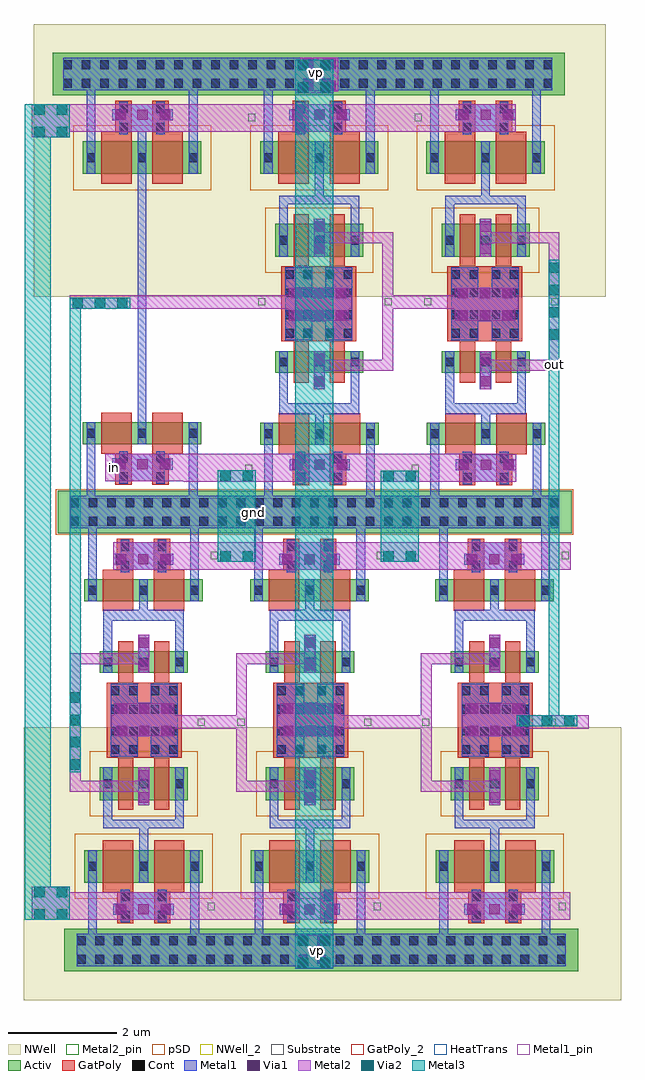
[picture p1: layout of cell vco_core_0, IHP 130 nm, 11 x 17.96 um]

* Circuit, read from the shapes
.subckt vco_core_0 gnd in out vp
XM1 vco_delay_cell_0_34/pgt in gnd gnd sg13_lv_nmos w=0.4u l=0.56u m=2
XM2 n1 in gnd gnd sg13_lv_nmos w=0.4u l=0.56u m=2
XM3 vco_delay_cell_0_37/in vco_delay_cell_0_35/in n1 gnd sg13_lv_nmos w=0.4u l=0.28u m=2
XM4 n2 in gnd gnd sg13_lv_nmos w=0.4u l=0.56u m=2
XM5 n3 in gnd gnd sg13_lv_nmos w=0.4u l=0.56u m=2
XM6 vco_delay_cell_0_35/in vco_delay_cell_0_34/in n2 gnd sg13_lv_nmos w=0.4u l=0.28u m=2
XM7 vco_delay_cell_0_38/in vco_delay_cell_0_37/in n3 gnd sg13_lv_nmos w=0.4u l=0.28u m=2
XM8 n4 in gnd gnd sg13_lv_nmos w=0.4u l=0.56u m=2
XM9 n5 in gnd gnd sg13_lv_nmos w=0.4u l=0.56u m=2
XM10 out vco_delay_cell_0_38/in n4 gnd sg13_lv_nmos w=0.4u l=0.28u m=2
XM11 vco_delay_cell_0_34/in out n5 gnd sg13_lv_nmos w=0.4u l=0.28u m=2
XM12 vco_delay_cell_0_34/pgt vco_delay_cell_0_34/pgt vp vp sg13_lv_pmos w=0.6u l=0.56u m=2
XM13 n6 vco_delay_cell_0_34/pgt vp vp sg13_lv_pmos w=0.6u l=0.56u m=2
XM14 vco_delay_cell_0_37/in vco_delay_cell_0_35/in n6 vp sg13_lv_pmos w=0.6u l=0.28u m=2
XM15 n7 vco_delay_cell_0_34/pgt vp vp sg13_lv_pmos w=0.6u l=0.56u m=2
XM16 n8 vco_delay_cell_0_34/pgt vp vp sg13_lv_pmos w=0.6u l=0.56u m=2
XM17 vco_delay_cell_0_35/in vco_delay_cell_0_34/in n7 vp sg13_lv_pmos w=0.6u l=0.28u m=2
XM18 vco_delay_cell_0_38/in vco_delay_cell_0_37/in n8 vp sg13_lv_pmos w=0.6u l=0.28u m=2
XM19 n9 vco_delay_cell_0_34/pgt vp vp sg13_lv_pmos w=0.6u l=0.56u m=2
XM20 n10 vco_delay_cell_0_34/pgt vp vp sg13_lv_pmos w=0.6u l=0.56u m=2
XM21 out vco_delay_cell_0_38/in n9 vp sg13_lv_pmos w=0.6u l=0.28u m=2
XM22 vco_delay_cell_0_34/in out n10 vp sg13_lv_pmos w=0.6u l=0.28u m=2
.ends

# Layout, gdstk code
from math import pi, radians
import gdstk
lib = gdstk.Library(unit=1e-6, precision=1e-09)
def R(c, l, rs):  # rectangles x0, y0, x1, y1
    for r in rs: c.add(gdstk.rectangle(r[:2], r[2:], *l))
def A(c, l, x, y, w, h, nx, ny, dx, dy):  # array of equal rectangles
    R(c, l, [(x+i*dx, y+j*dy, x+i*dx+w, y+j*dy+h) for i in range(nx) for j in range(ny)])
Activ = (1, 0)
GatPoly = (5, 0)
GatPoly_2 = (5, 2)
Cont = (6, 0)
Metal1 = (8, 0)
Metal1_pin = (8, 2)
Metal2 = (10, 0)
Metal2_pin = (10, 2)
pSD = (14, 0)
Via1 = (19, 0)
Via2 = (29, 0)
Metal3 = (30, 0)
NWell = (31, 0)
NWell_2 = (31, 2)
Substrate = (40, 0)
HeatTrans = (51, 0)

ntap1_15 = lib.new_cell('ntap1$15')
R(ntap1_15, Activ, [(0,0,1.56,0.78)])
A(ntap1_15, Cont, 0.19, 0.14, 0.16, 0.16, 4, 2, 0.34, 0.34)
R(ntap1_15, Metal1, [(0.19,0.09,1.37,0.69)])
R(ntap1_15, Metal1_pin, [(0.19,0.09,1.37,0.69), (0.19,0.14,1.37,0.64)])
R(ntap1_15, NWell, [(-0.24,-0.24,1.8,1.02), (0,0,1.56,0.78)])
R(ntap1_15, NWell_2, [(0,0,1.56,0.78)])
ntap1_15.add(gdstk.Label('well', (0.78,0.01), layer=63, texttype=0))
ntap1_15.add(gdstk.Label('well', (0.78,0.01), layer=31, texttype=0))

ptap1_17 = lib.new_cell('ptap1$17')
R(ptap1_17, Activ, [(0,0,1.56,0.78)])
A(ptap1_17, Cont, 0.19, 0.14, 0.16, 0.16, 4, 2, 0.34, 0.34)
R(ptap1_17, Metal1, [(0.19,0.09,1.37,0.69), (0.19,0.14,1.37,0.64)])
R(ptap1_17, Metal1_pin, [(0.19,0.14,1.37,0.64)])
R(ptap1_17, pSD, [(-0.03,-0.03,1.59,0.81)])
R(ptap1_17, Substrate, [(0,0,1.56,0.78)])
ptap1_17.add(gdstk.Label('sub!', (0.78,0.01), layer=63, texttype=0))
ptap1_17.add(gdstk.Label('sub!', (0.78,0.01), layer=40, texttype=0))

pmos_8 = lib.new_cell('pmos$8')
A(pmos_8, Activ, 0, 0, 0.3, 0.3, 3, 1, 0.94, 0)
R(pmos_8, Activ, [(0,0,2.18,0.6)])
R(pmos_8, GatPoly, [(0.34,-0.18,0.9,0.78), (0.34,-0.18,0.9,0.78), (1.28,-0.18,1.84,0.78)])
A(pmos_8, Cont, 0.07, 0.22, 0.16, 0.16, 3, 1, 0.94, 0)
R(pmos_8, Metal1, [(0.07,0,0.23,0.6), (0.07,0,0.23,0.6), (1.01,0,1.17,0.6), (1.01,0,1.17,0.6), (1.95,0,2.11,0.6)])
R(pmos_8, pSD, [(-0.18,-0.3,2.36,0.9)])
R(pmos_8, NWell, [(-0.31,-0.31,2.49,0.91)])
R(pmos_8, HeatTrans, [(0.34,-0.18,0.9,0.78), (1.28,-0.18,1.84,0.78)])
pmos_8.add(gdstk.Label('pmos', (0.62,0.3), layer=63, texttype=0))
pmos_8.add(gdstk.Label('pmos', (0.62,0.3), layer=51, texttype=0))
pmos_8.add(gdstk.Label('pmos', (1.56,0.3), layer=51, texttype=0))

nmos_20 = lib.new_cell('nmos$20')
A(nmos_20, Activ, 0, 0, 0.3, 0.3, 3, 1, 0.94, 0)
R(nmos_20, Activ, [(0,0,2.18,0.4)])
R(nmos_20, GatPoly, [(0.34,-0.18,0.9,0.58), (1.28,-0.18,1.84,0.58)])
R(nmos_20, GatPoly_2, [(0.34,-0.18,0.9,0.58)])
A(nmos_20, Cont, 0.07, 0.12, 0.16, 0.16, 3, 1, 0.94, 0)
A(nmos_20, Metal1, 0.07, 0, 0.16, 0.4, 3, 1, 0.94, 0)
R(nmos_20, Metal1_pin, [(0.07,0,0.23,0.4), (1.01,0,1.17,0.4)])
R(nmos_20, HeatTrans, [(0.34,-0.18,0.9,0.58), (1.28,-0.18,1.84,0.58)])
nmos_20.add(gdstk.Label('nmos', (0.62,0.2), layer=63, texttype=0))
nmos_20.add(gdstk.Label('nmos', (0.62,0.2), layer=51, texttype=0))
nmos_20.add(gdstk.Label('nmos', (1.56,0.2), layer=51, texttype=0))

via_75 = lib.new_cell('Via$75')
R(via_75, Metal1, [(-0.105,-0.555,0.105,0.555)])
R(via_75, Metal2, [(-0.1,-0.555,0.1,0.555)])
A(via_75, Via1, -0.095, -0.505, 0.19, 0.19, 1, 3, 0, 0.41)

via_8_10 = lib.new_cell('Via$8$10')
R(via_8_10, GatPoly, [(-0.15,-0.32,0.15,0.32)])
R(via_8_10, Cont, [(-0.08,-0.25,0.08,-0.09), (-0.08,0.09,0.08,0.25)])
R(via_8_10, Metal1, [(-0.08,-0.3,0.08,0.3)])

via_5_6 = lib.new_cell('Via$5$6')
R(via_5_6, Metal2, [(-0.76,-0.1,0.76,0.1)])
A(via_5_6, Via2, -0.71, -0.095, 0.19, 0.19, 4, 1, 0.41, 0)
R(via_5_6, Metal3, [(-0.76,-0.1,0.76,0.1)])

via_4_7 = lib.new_cell('Via$4$7')
R(via_4_7, Metal2, [(-0.555,-0.1,0.555,0.1)])
A(via_4_7, Via2, -0.505, -0.095, 0.19, 0.19, 3, 1, 0.41, 0)
R(via_4_7, Metal3, [(-0.555,-0.1,0.555,0.1)])

via_7_3 = lib.new_cell('Via$7$3')
R(via_7_3, Metal2, [(-0.35,-0.305,0.35,0.305)])
R(via_7_3, Via2, [(-0.3,-0.3,-0.11,-0.11), (0.11,-0.3,0.3,-0.11), (-0.3,0.11,-0.11,0.3), (0.11,0.11,0.3,0.3)])
R(via_7_3, Metal3, [(-0.35,-0.305,0.35,0.305)])

via_9_5 = lib.new_cell('Via$9$5')
R(via_9_5, Metal2, [(-0.35,-0.1,0.35,0.1)])
R(via_9_5, Via2, [(-0.3,-0.095,-0.11,0.095), (0.11,-0.095,0.3,0.095)])
R(via_9_5, Metal3, [(-0.35,-0.1,0.35,0.1)])

via_11_2 = lib.new_cell('Via$11$2')
R(via_11_2, Metal1, [(-0.35,-0.31,0.35,0.31)])
R(via_11_2, Metal2, [(-0.35,-0.305,0.35,0.305)])
R(via_11_2, Via1, [(-0.3,-0.3,-0.11,-0.11), (0.11,-0.3,0.3,-0.11), (-0.3,0.11,-0.11,0.3), (0.11,0.11,0.3,0.3)])

pmos_4_1 = lib.new_cell('pmos$4$1')
A(pmos_4_1, Activ, 0, 0, 0.3, 0.3, 3, 1, 0.66, 0)
R(pmos_4_1, Activ, [(0,0,1.62,0.6)])
R(pmos_4_1, GatPoly, [(0.34,-0.18,0.62,0.78), (0.34,-0.18,0.62,0.78), (1,-0.18,1.28,0.78)])
A(pmos_4_1, Cont, 0.07, 0.22, 0.16, 0.16, 3, 1, 0.66, 0)
R(pmos_4_1, Metal1, [(0.07,0,0.23,0.6), (0.07,0,0.23,0.6), (0.73,0,0.89,0.6), (0.73,0,0.89,0.6), (1.39,0,1.55,0.6)])
R(pmos_4_1, pSD, [(-0.18,-0.3,1.8,0.9)])
R(pmos_4_1, NWell, [(-0.31,-0.31,1.93,0.91)])
R(pmos_4_1, HeatTrans, [(0.34,-0.18,0.62,0.78), (1,-0.18,1.28,0.78)])
pmos_4_1.add(gdstk.Label('pmos', (0.48,0.3), layer=63, texttype=0))
pmos_4_1.add(gdstk.Label('pmos', (0.48,0.3), layer=51, texttype=0))
pmos_4_1.add(gdstk.Label('pmos', (1.14,0.3), layer=51, texttype=0))

pmos_3_6 = lib.new_cell('pmos$3$6')
A(pmos_3_6, Activ, 0, 0, 0.3, 0.3, 3, 1, 0.94, 0)
R(pmos_3_6, Activ, [(0,0,2.18,0.6)])
R(pmos_3_6, GatPoly, [(0.34,-0.18,0.9,0.78), (0.34,-0.18,0.9,0.78), (1.28,-0.18,1.84,0.78)])
A(pmos_3_6, Cont, 0.07, 0.22, 0.16, 0.16, 3, 1, 0.94, 0)
R(pmos_3_6, Metal1, [(0.07,0,0.23,0.6), (0.07,0,0.23,0.6), (1.01,0,1.17,0.6), (1.01,0,1.17,0.6), (1.95,0,2.11,0.6)])
R(pmos_3_6, pSD, [(-0.18,-0.3,2.36,0.9)])
R(pmos_3_6, NWell, [(-0.31,-0.31,2.49,0.91)])
R(pmos_3_6, HeatTrans, [(0.34,-0.18,0.9,0.78), (1.28,-0.18,1.84,0.78)])
pmos_3_6.add(gdstk.Label('pmos', (0.62,0.3), layer=63, texttype=0))
pmos_3_6.add(gdstk.Label('pmos', (0.62,0.3), layer=51, texttype=0))
pmos_3_6.add(gdstk.Label('pmos', (1.56,0.3), layer=51, texttype=0))

nmos_5_2 = lib.new_cell('nmos$5$2')
A(nmos_5_2, Activ, 0, 0, 0.3, 0.3, 3, 1, 0.66, 0)
R(nmos_5_2, Activ, [(0,0,1.62,0.4)])
R(nmos_5_2, GatPoly, [(0.34,-0.18,0.62,0.58), (1,-0.18,1.28,0.58)])
R(nmos_5_2, GatPoly_2, [(0.34,-0.18,0.62,0.58)])
A(nmos_5_2, Cont, 0.07, 0.12, 0.16, 0.16, 3, 1, 0.66, 0)
A(nmos_5_2, Metal1, 0.07, 0, 0.16, 0.4, 3, 1, 0.66, 0)
R(nmos_5_2, Metal1_pin, [(0.07,0,0.23,0.4), (0.73,0,0.89,0.4)])
R(nmos_5_2, HeatTrans, [(0.34,-0.18,0.62,0.58), (1,-0.18,1.28,0.58)])
nmos_5_2.add(gdstk.Label('nmos', (0.48,0.2), layer=63, texttype=0))
nmos_5_2.add(gdstk.Label('nmos', (0.48,0.2), layer=51, texttype=0))
nmos_5_2.add(gdstk.Label('nmos', (1.14,0.2), layer=51, texttype=0))

nmos_2_1 = lib.new_cell('nmos$2$1')
A(nmos_2_1, Activ, 0, 0, 0.3, 0.3, 3, 1, 0.94, 0)
R(nmos_2_1, Activ, [(0,0,2.18,0.4)])
R(nmos_2_1, GatPoly, [(0.34,-0.18,0.9,0.58), (1.28,-0.18,1.84,0.58)])
R(nmos_2_1, GatPoly_2, [(0.34,-0.18,0.9,0.58)])
A(nmos_2_1, Cont, 0.07, 0.12, 0.16, 0.16, 3, 1, 0.94, 0)
A(nmos_2_1, Metal1, 0.07, 0, 0.16, 0.4, 3, 1, 0.94, 0)
R(nmos_2_1, Metal1_pin, [(0.07,0,0.23,0.4), (1.01,0,1.17,0.4)])
R(nmos_2_1, HeatTrans, [(0.34,-0.18,0.9,0.58), (1.28,-0.18,1.84,0.58)])
nmos_2_1.add(gdstk.Label('nmos', (0.62,0.2), layer=63, texttype=0))
nmos_2_1.add(gdstk.Label('nmos', (0.62,0.2), layer=51, texttype=0))
nmos_2_1.add(gdstk.Label('nmos', (1.56,0.2), layer=51, texttype=0))

ntap1_1_1 = lib.new_cell('ntap1$1$1')
R(ntap1_1_1, Activ, [(0,0,3,0.78)])
A(ntap1_1_1, Cont, 0.23, 0.14, 0.16, 0.16, 8, 2, 0.34, 0.34)
R(ntap1_1_1, Metal1, [(0.23,0.09,2.77,0.69)])
R(ntap1_1_1, Metal1_pin, [(0.23,0.09,2.77,0.69), (0.23,0.14,2.77,0.64)])
R(ntap1_1_1, NWell, [(-0.24,-0.24,3.24,1.02), (0,0,3,0.78)])
R(ntap1_1_1, NWell_2, [(0,0,3,0.78)])
ntap1_1_1.add(gdstk.Label('well', (1.5,0.01), layer=63, texttype=0))
ntap1_1_1.add(gdstk.Label('well', (1.5,0.01), layer=31, texttype=0))

ptap1_3_6 = lib.new_cell('ptap1$3$6')
R(ptap1_3_6, Activ, [(0,0,3,0.78)])
A(ptap1_3_6, Cont, 0.23, 0.14, 0.16, 0.16, 8, 2, 0.34, 0.34)
R(ptap1_3_6, Metal1, [(0.23,0.09,2.77,0.69), (0.23,0.14,2.77,0.64)])
R(ptap1_3_6, Metal1_pin, [(0.23,0.14,2.77,0.64)])
R(ptap1_3_6, pSD, [(-0.03,-0.03,3.03,0.81)])
R(ptap1_3_6, Substrate, [(0,0,3,0.78)])
ptap1_3_6.add(gdstk.Label('sub!', (1.5,0.01), layer=63, texttype=0))
ptap1_3_6.add(gdstk.Label('sub!', (1.5,0.01), layer=40, texttype=0))

via_10_5 = lib.new_cell('Via$10$5')
R(via_10_5, GatPoly, [(-0.32,-0.32,0.32,0.32)])
R(via_10_5, Cont, [(-0.25,-0.25,-0.09,-0.09), (0.09,-0.25,0.25,-0.09), (-0.25,0.09,-0.09,0.25), (0.09,0.09,0.25,0.25)])
R(via_10_5, Metal1, [(-0.3,-0.25,0.3,0.25)])

via_1_2 = lib.new_cell('Via$1$2')
R(via_1_2, Metal1, [(-0.31,-0.555,0.31,0.555)])
R(via_1_2, Metal2, [(-0.305,-0.555,0.305,0.555)])
A(via_1_2, Via1, -0.3, -0.505, 0.19, 0.19, 1, 3, 0, 0.41)
A(via_1_2, Via1, 0.11, -0.505, 0.19, 0.19, 1, 3, 0, 0.41)

via_3_3 = lib.new_cell('Via$3$3')
R(via_3_3, Metal1, [(-0.105,-0.35,0.105,0.35)])
R(via_3_3, Metal2, [(-0.1,-0.35,0.1,0.35)])
R(via_3_3, Via1, [(-0.095,-0.3,0.095,-0.11), (-0.095,0.11,0.095,0.3)])

via_2_10 = lib.new_cell('Via$2$10')
R(via_2_10, GatPoly, [(-0.15,-0.32,0.15,0.32)])
R(via_2_10, Cont, [(-0.08,-0.25,0.08,-0.09), (-0.08,0.09,0.08,0.25)])
R(via_2_10, Metal1, [(-0.08,-0.3,0.08,0.3)])

via_5_2 = lib.new_cell('Via$5$2')
R(via_5_2, Metal1, [(-0.105,-0.555,0.105,0.555)])
R(via_5_2, Metal2, [(-0.1,-0.555,0.1,0.555)])
A(via_5_2, Via1, -0.095, -0.505, 0.19, 0.19, 1, 3, 0, 0.41)

vco_delay_cell_0 = lib.new_cell('vco_delay_cell_0')
R(vco_delay_cell_0, GatPoly, [(0.71,-0.53,0.82,0.11), (0.07,0.09,1.45,0.21), (0.71,0.21,0.82,0.85)])
R(vco_delay_cell_0, Metal1, [(1.635,-3.47,1.795,-2.42), (-0.245,-3.45,-0.085,-2.42), (0.475,-3.11,1.15,-2.61), (0.695,-2.03,0.855,-1.75), (0.03,-1.87,1.51,-1.67), (1.35,-1.735,1.51,-1.09), (0.03,-1.73,0.19,-0.99), (0.88,-0.35,1.38,0.13), (0.14,-0.34,0.64,0.13), (0.14,-0.04,0.39,0.23), (1.17,0.09,1.38,0.23), (0.03,1.63,0.19,2.04), (1.35,1.63,1.51,2.05), (0.03,1.99,1.51,2.15), (0.69,2.05,0.85,2.5), (0.69,2.38,0.85,2.55), (-0.25,3.15,-0.09,4.39), (1.63,3.15,1.79,4.265), (0.46,3.33,1.095,3.83)])
R(vco_delay_cell_0, Metal1_pin, [(0.79,-3.725,0.92,-3.595), (0.295,4.285,0.425,4.415)])
R(vco_delay_cell_0, Metal2, [(-0.625,-3.11,-0.035,-2.61), (-0.035,-3.11,1.335,-2.61), (0.83,-1.07,2.13,-0.87), (1.93,-1.07,2.13,0.57), (1.93,-0.16,2.13,1.48), (-0.96,0.07,1.37,0.32), (0.83,1.28,2.13,1.48), (-0.62,3.33,-0.03,3.83), (-0.04,3.33,1.33,3.83)])
R(vco_delay_cell_0, Metal2_pin, [(-0.59,-2.935,-0.46,-2.805), (1.975,0.13,2.105,0.26), (-0.355,0.135,-0.225,0.265), (-0.535,3.525,-0.405,3.655)])
R(vco_delay_cell_0, NWell, [(-1.56,0.29,2.98,5.31)])
vco_delay_cell_0.add(gdstk.Reference(pmos_4_1, (-0.04,1.03)))
vco_delay_cell_0.add(gdstk.Reference(pmos_3_6, (-0.32,2.55)))
vco_delay_cell_0.add(gdstk.Reference(nmos_5_2, (-0.04,-1.11)))
vco_delay_cell_0.add(gdstk.Reference(nmos_2_1, (-0.315,-2.43)))
vco_delay_cell_0.add(gdstk.Reference(ntap1_1_1, (-0.77,4)))
vco_delay_cell_0.add(gdstk.Reference(ptap1_3_6, (-0.645,-4.06)))
vco_delay_cell_0.add(gdstk.Reference(via_10_5, (0.39,0.53), rotation=pi/2))
vco_delay_cell_0.add(gdstk.Reference(via_10_5, (1.13,0.53), rotation=pi/2))
vco_delay_cell_0.add(gdstk.Reference(via_10_5, (0.39,-0.21), rotation=pi/2))
vco_delay_cell_0.add(gdstk.Reference(via_10_5, (1.13,-0.21), rotation=pi/2))
vco_delay_cell_0.add(gdstk.Reference(via_1_2, (0.76,0.15), rotation=pi/2))
vco_delay_cell_0.add(gdstk.Reference(via_3_3, (0.77,1.38)))
vco_delay_cell_0.add(gdstk.Reference(via_3_3, (0.77,-1.06)))
vco_delay_cell_0.add(gdstk.Reference(via_2_10, (1.115,-2.86)))
vco_delay_cell_0.add(gdstk.Reference(via_5_2, (0.78,-2.8), rotation=pi/2))
vco_delay_cell_0.add(gdstk.Reference(via_5_2, (0.775,3.64), rotation=pi/2))
vco_delay_cell_0.add(gdstk.Reference(via_2_10, (1.11,3.58)))
vco_delay_cell_0.add(gdstk.Reference(via_2_10, (0.43,3.58)))
vco_delay_cell_0.add(gdstk.Reference(via_2_10, (0.435,-2.86)))
vco_delay_cell_0.add(gdstk.Label('ngt', (-0.525,-2.87), layer=10, texttype=25))
vco_delay_cell_0.add(gdstk.Label('pgt', (-0.47,3.59), layer=10, texttype=25))
vco_delay_cell_0.add(gdstk.Label('out', (2.04,0.18), layer=10, texttype=25))
vco_delay_cell_0.add(gdstk.Label('in', (-0.29,0.2), layer=10, texttype=25))
vco_delay_cell_0.add(gdstk.Label('gnd', (0.855,-3.66), layer=8, texttype=25))
vco_delay_cell_0.add(gdstk.Label('vp', (0.36,4.35), layer=8, texttype=25))

vco_core_0 = lib.new_cell('vco_core_0')
R(vco_core_0, Metal1, [(-2.01,0.66,-1.85,1.87), (-0.13,0.66,0.03,1.93), (-1.33,1.14,-0.63,1.64), (-1.07,2.02,-0.91,6.91), (-2.01,7.39,-1.85,8.78), (-1.07,7.39,-0.91,7.74), (-0.13,7.39,0.03,8.54), (-1.295,7.57,-1.09,8.07), (-1.13,7.57,-0.635,8.07)])
R(vco_core_0, Metal1_pin, [(2.165,-7.555,2.295,-7.425), (0.99,0.505,1.12,0.635), (2.155,8.59,2.285,8.72)])
R(vco_core_0, Metal2, [(-2.85,-6.93,6.52,-6.43), (3.72,-3.42,4.265,-3.17), (0.255,-0.49,5.855,0.01), (-0.225,1.13,5.655,1.64), (-1.665,1.14,-0.045,1.64), (-2.32,4.31,2.015,4.56), (-2.78,7.57,-1.85,8.07), (-1.9,7.57,4.14,8.07), (-1.85,7.57,0.88,8.07), (-1.79,7.57,-0.17,8.07)])
R(vco_core_0, Metal2_pin, [(-1.56,1.325,-1.43,1.455), (6.53,3.215,6.66,3.345)])
R(vco_core_0, Metal3, [(1.825,-7.22,2.525,8.28), (-3.145,-6.935,-2.675,8.075), (6.49,-3.27,6.69,4.12), (-2.32,-2.7,-2.12,4.45), (0.4,-0.31,1.1,1.34), (3.4,-0.31,4.1,1.33)])
R(vco_core_0, NWell, [(-2.98,4.53,0.89,9.55)])
vco_core_0.add(gdstk.Reference(ntap1_15, (3.15,8.24)))
vco_core_0.add(gdstk.Reference(ptap1_17, (2.935,0.18)))
vco_core_0.add(gdstk.Reference(ntap1_15, (-0.25,8.24)))
vco_core_0.add(gdstk.Reference(ntap1_15, (-1.27,8.24)))
vco_core_0.add(gdstk.Reference(ptap1_17, (-0.125,0.18)))
vco_core_0.add(gdstk.Reference(ptap1_17, (-1.145,0.18)))
vco_core_0.add(gdstk.Reference(pmos_8, (-2.08,6.79)))
vco_core_0.add(gdstk.Reference(ntap1_15, (-2.29,8.24)))
vco_core_0.add(gdstk.Reference(ntap1_15, (-2.63,8.24)))
vco_core_0.add(gdstk.Reference(nmos_20, (-2.08,1.82)))
vco_core_0.add(gdstk.Reference(ptap1_17, (-2.165,0.18)))
vco_core_0.add(gdstk.Reference(via_75, (-0.98,1.45), rotation=pi/2))
vco_core_0.add(gdstk.Reference(via_8_10, (-0.65,1.39)))
vco_core_0.add(gdstk.Reference(via_8_10, (-1.33,1.39)))
vco_core_0.add(gdstk.Reference(via_75, (-0.98,7.88), rotation=pi/2))
vco_core_0.add(gdstk.Reference(via_8_10, (-0.65,7.82)))
vco_core_0.add(gdstk.Reference(via_8_10, (-1.33,7.82)))
vco_core_0.add(gdstk.Reference(ptap1_17, (-2.505,0.18)))
vco_core_0.add(gdstk.Reference(ntap1_15, (-0.34,-7.88)))
vco_core_0.add(gdstk.Reference(ntap1_15, (3.06,-7.88)))
vco_core_0.add(gdstk.Reference(via_5_6, (-2.22,-3.46), rotation=pi/2))
vco_core_0.add(gdstk.Reference(via_4_7, (-1.765,4.41), rotation=pi))
vco_core_0.add(gdstk.Reference(via_5_6, (6.59,4.45), rotation=pi/2))
vco_core_0.add(gdstk.Reference(via_4_7, (6.46,-3.27), rotation=pi))
vco_core_0.add(gdstk.Reference(via_7_3, (-2.67,-6.63)))
vco_core_0.add(gdstk.Reference(via_7_3, (-2.67,7.77)))
vco_core_0.add(gdstk.Reference(via_9_5, (0.75,-0.25)))
vco_core_0.add(gdstk.Reference(via_9_5, (0.75,1.24)))
vco_core_0.add(gdstk.Reference(via_9_5, (3.75,-0.25)))
vco_core_0.add(gdstk.Reference(via_9_5, (3.75,1.23)))
vco_core_0.add(gdstk.Reference(via_7_3, (2.175,8.585)))
vco_core_0.add(gdstk.Reference(via_7_3, (2.175,-7.525)))
vco_core_0.add(gdstk.Reference(via_11_2, (2.175,-7.525)))
vco_core_0.add(gdstk.Reference(via_11_2, (2.27,8.62)))
vco_core_0.add(gdstk.Reference(vco_delay_cell_0, (2.87,-3.1), rotation=pi))
vco_core_0.add(gdstk.Reference(vco_delay_cell_0, (-0.19,-3.1), rotation=pi))
vco_core_0.add(gdstk.Reference(vco_delay_cell_0, (6.27,-3.1), rotation=pi))
vco_core_0.add(gdstk.Reference(vco_delay_cell_0, (1.5,4.24)))
vco_core_0.add(gdstk.Reference(vco_delay_cell_0, (4.56,4.24)))
vco_core_0.add(gdstk.Label('out', (6.595,3.28), layer=10, texttype=25))
vco_core_0.add(gdstk.Label('in', (-1.495,1.39), layer=10, texttype=25))
vco_core_0.add(gdstk.Label('vp', (2.22,8.655), layer=8, texttype=25))
vco_core_0.add(gdstk.Label('gnd', (1.055,0.57), layer=8, texttype=25))
vco_core_0.add(gdstk.Label('vp', (2.23,-7.49), layer=8, texttype=25))

lib.write_gds('vco_core_0.gds')
